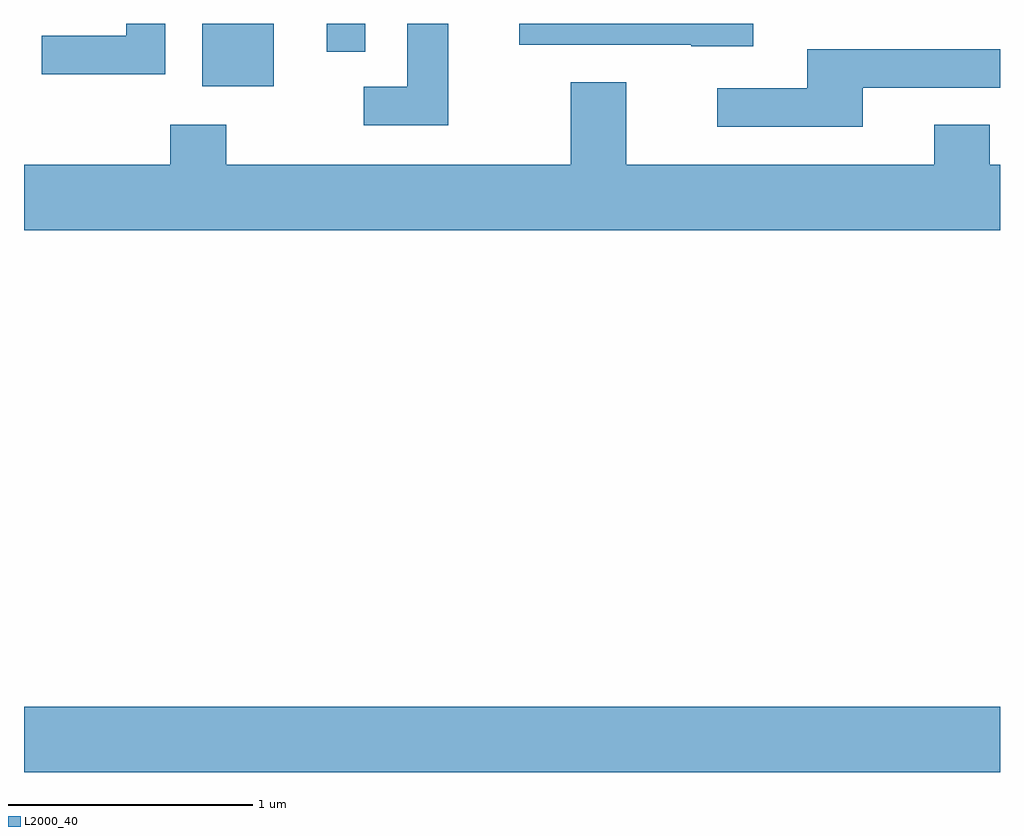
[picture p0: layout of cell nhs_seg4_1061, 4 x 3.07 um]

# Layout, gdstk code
import gdstk
lib = gdstk.Library(unit=1e-6, precision=1e-09)
def R(c, l, rs):  # rectangles x0, y0, x1, y1
    for r in rs: c.add(gdstk.rectangle(r[:2], r[2:], *l))
def P(c, l, *ps):  # polygons
    for p in ps: c.add(gdstk.Polygon(p, *l))
L2000_40 = (2000, 40)

nhs_seg4_1061 = lib.new_cell('nhs_seg4_1061')
R(nhs_seg4_1061, L2000_40, [(215.611,1336.916,219.611,1337.184), (216.341,1339.726,216.634,1339.982), (216.851,1339.868,217.009,1339.982)])
P(nhs_seg4_1061, L2000_40, [(217.349,1339.982),(217.181,1339.982),(217.181,1339.724),(217.003,1339.724),(217.003,1339.566),(217.349,1339.566)],
  [(218.599,1339.982),(217.641,1339.982),(217.641,1339.896),(218.345,1339.896),(218.345,1339.891),(218.599,1339.891)],
  [(216.189,1339.982),(216.031,1339.982),(216.031,1339.934),(215.683,1339.934),(215.683,1339.776),(216.189,1339.776)],
  [(219.049,1339.721),(219.611,1339.721),(219.611,1339.879),(218.821,1339.879),(218.821,1339.719),(218.453,1339.719),(218.453,1339.561),(219.049,1339.561)],
  [(219.611,1339.404),(219.569,1339.404),(219.569,1339.569),(219.341,1339.569),(219.341,1339.404),(218.079,1339.404),(218.079,1339.744),(217.851,1339.744),(217.851,1339.404),(216.439,1339.404),(216.439,1339.569),(216.211,1339.569),(216.211,1339.404),(215.611,1339.404),(215.611,1339.136),(219.611,1339.136)])

lib.write_gds('nhs_seg4_1061.gds')
